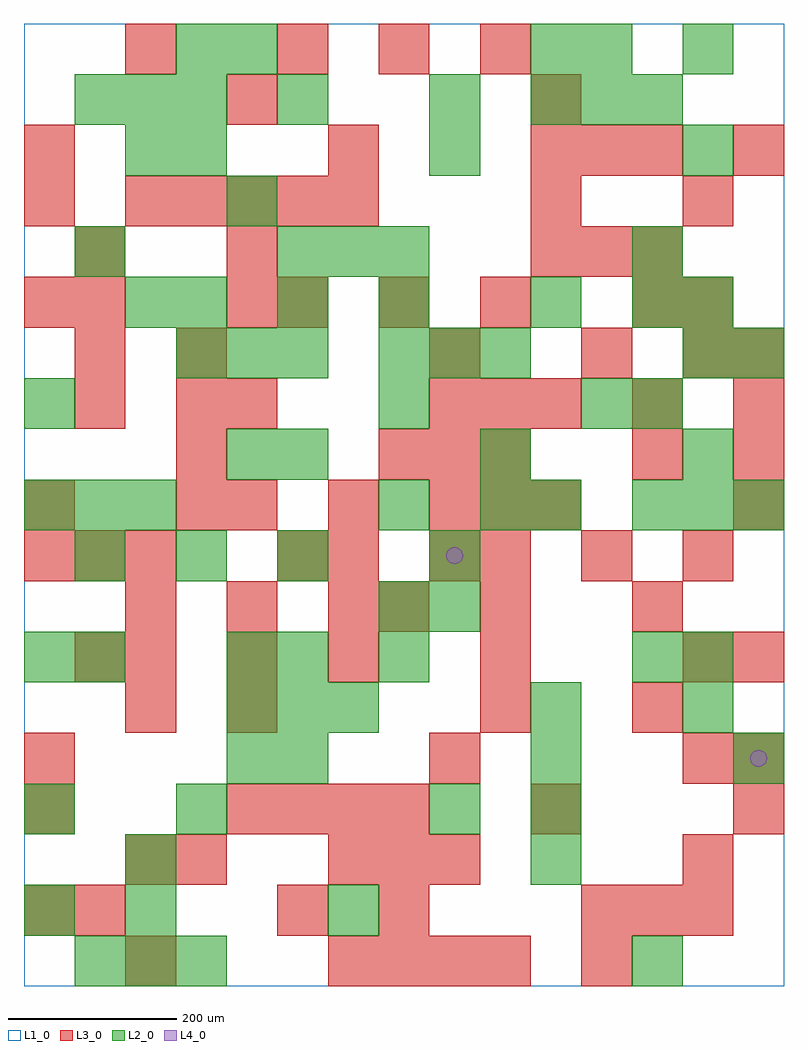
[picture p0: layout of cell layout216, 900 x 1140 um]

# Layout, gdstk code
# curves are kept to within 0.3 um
import gdstk
lib = gdstk.Library(unit=1e-6, precision=1e-09)
def R(c, l, rs):  # rectangles x0, y0, x1, y1
    for r in rs: c.add(gdstk.rectangle(r[:2], r[2:], *l))
def A(c, l, x, y, w, h, nx, ny, dx, dy):  # array of equal rectangles
    R(c, l, [(x+i*dx, y+j*dy, x+i*dx+w, y+j*dy+h) for i in range(nx) for j in range(ny)])
def P(c, l, *ps):  # polygons
    for p in ps: c.add(gdstk.Polygon(p, *l))
L1_0 = (1, 0)
L2_0 = (2, 0)
L3_0 = (3, 0)
L4_0 = (4, 0)

layout216 = lib.new_cell('layout216')
R(layout216, L1_0, [(0,0,900,1140)])
A(layout216, L2_0, 60, 0, 60, 60, 3, 2, 60, 1020)
A(layout216, L2_0, 600, 120, 60, 60, 1, 4, 0, 60)
A(layout216, L2_0, 240, 300, 60, 60, 3, 1, 60, 0)
A(layout216, L2_0, 420, 420, 60, 60, 1, 3, 0, 120)
A(layout216, L2_0, 60, 480, 60, 60, 3, 1, 120, 0)
A(layout216, L2_0, 0, 540, 60, 60, 3, 1, 60, 0)
A(layout216, L2_0, 720, 540, 60, 60, 3, 1, 60, 0)
A(layout216, L2_0, 300, 600, 60, 60, 3, 1, 240, 0)
A(layout216, L2_0, 180, 720, 60, 60, 3, 1, 60, 0)
A(layout216, L2_0, 420, 720, 60, 60, 3, 1, 60, 0)
A(layout216, L2_0, 180, 780, 60, 60, 3, 1, 120, 0)
A(layout216, L2_0, 300, 840, 60, 60, 3, 1, 60, 0)
A(layout216, L2_0, 180, 960, 60, 60, 3, 1, 300, 0)
A(layout216, L2_0, 600, 1020, 60, 60, 3, 1, 60, 0)
R(layout216, L2_0, [(720,0,780,60), (0,60,60,120), (120,60,180,120), (360,60,420,120), (120,120,180,180), (0,180,60,240), (180,180,240,240), (480,180,540,240), (240,240,300,300), (300,240,360,300), (840,240,900,300), (780,300,840,360), (0,360,60,420), (60,360,120,420), (240,360,300,420), (300,360,360,420), (420,360,480,420), (720,360,780,420), (780,360,840,420), (480,420,540,480), (480,480,540,540), (540,540,600,600), (600,540,660,600), (240,600,300,660), (0,660,60,720), (660,660,720,720), (720,660,780,720), (780,720,840,780), (840,720,900,780), (120,780,180,840), (600,780,660,840), (720,780,780,840), (780,780,840,840), (60,840,120,900), (720,840,780,900), (240,900,300,960), (120,960,180,1020), (300,1020,360,1080), (480,1020,540,1080), (180,1080,240,1140), (240,1080,300,1140), (600,1080,660,1140), (660,1080,720,1140), (780,1080,840,1140)])
A(layout216, L3_0, 360, 0, 60, 60, 4, 1, 60, 0)
A(layout216, L3_0, 60, 60, 60, 60, 1, 3, 0, 300)
A(layout216, L3_0, 660, 60, 60, 60, 3, 1, 60, 0)
A(layout216, L3_0, 360, 120, 60, 60, 3, 1, 60, 0)
A(layout216, L3_0, 780, 120, 60, 60, 1, 3, 0, 120)
A(layout216, L3_0, 240, 180, 60, 60, 4, 1, 60, 0)
A(layout216, L3_0, 600, 180, 60, 60, 1, 3, 0, 360)
A(layout216, L3_0, 480, 240, 60, 60, 1, 3, 0, 240)
A(layout216, L3_0, 540, 300, 60, 60, 1, 3, 0, 60)
A(layout216, L3_0, 120, 360, 60, 60, 3, 2, 120, 60)
A(layout216, L3_0, 0, 480, 60, 60, 3, 1, 60, 0)
A(layout216, L3_0, 540, 480, 60, 60, 3, 1, 120, 0)
A(layout216, L3_0, 180, 540, 60, 60, 1, 4, 0, 60)
A(layout216, L3_0, 240, 540, 60, 60, 3, 1, 120, 0)
A(layout216, L3_0, 840, 540, 60, 60, 1, 4, 0, 60)
A(layout216, L3_0, 420, 600, 60, 60, 3, 1, 60, 0)
A(layout216, L3_0, 480, 660, 60, 60, 3, 1, 60, 0)
A(layout216, L3_0, 60, 720, 60, 60, 1, 3, 0, 60)
A(layout216, L3_0, 300, 780, 60, 60, 3, 2, 120, 300)
A(layout216, L3_0, 600, 840, 60, 60, 3, 2, 60, 120)
A(layout216, L3_0, 120, 900, 60, 60, 5, 1, 60, 0)
R(layout216, L3_0, [(120,0,180,60), (660,0,720,60), (0,60,60,120), (300,60,360,120), (420,60,480,120), (120,120,180,180), (180,120,240,180), (0,180,60,240), (840,180,900,240), (0,240,60,300), (840,240,900,300), (120,300,180,360), (240,300,300,360), (720,300,780,360), (840,360,900,420), (420,420,480,480), (720,420,780,480), (300,480,360,540), (360,480,420,540), (0,540,60,600), (540,540,600,600), (720,600,780,660), (240,660,300,720), (720,660,780,720), (660,720,720,780), (780,720,840,780), (0,780,60,840), (240,780,300,840), (720,780,780,840), (780,780,840,840), (240,840,300,900), (0,900,60,960), (780,900,840,960), (0,960,60,1020), (360,960,420,1020), (840,960,900,1020), (240,1020,300,1080), (600,1020,660,1080), (120,1080,180,1140)])
P(layout216, L4_0, [(520,510),(519.239,513.827),(517.071,517.071),(513.827,519.239),(510,520),(506.173,519.239),(502.929,517.071),(500.761,513.827),(500,510),(500.761,506.173),(502.929,502.929),(506.173,500.761),(510,500),(513.827,500.761),(517.071,502.929),(519.239,506.173)],
  [(880,270),(879.239,273.827),(877.071,277.071),(873.827,279.239),(870,280),(866.173,279.239),(862.929,277.071),(860.761,273.827),(860,270),(860.761,266.173),(862.929,262.929),(866.173,260.761),(870,260),(873.827,260.761),(877.071,262.929),(879.239,266.173)])

lib.write_gds('layout216.gds')
